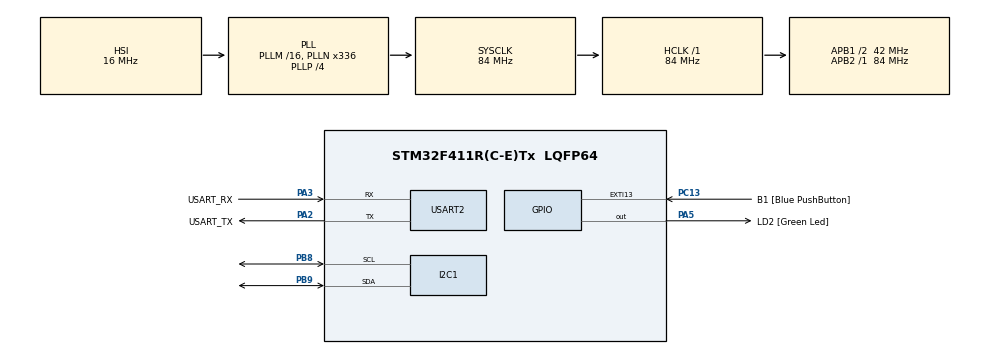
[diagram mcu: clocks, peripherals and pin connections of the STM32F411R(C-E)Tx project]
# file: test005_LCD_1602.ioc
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Mcu.Family=STM32F4
Mcu.Name=STM32F411R(C-E)Tx
Mcu.Package=LQFP64
NVIC.I2C1_ER_IRQn=true\:0\:0\:false\:false\:true\:true\:true\:true
NVIC.I2C1_EV_IRQn=true\:0\:0\:false\:false\:true\:true\:true\:true
NVIC.PriorityGroup=NVIC_PRIORITYGROUP_0
PA13.GPIO_Label=TMS
PA13.Mode=Serial_Wire
PA13.Signal=SYS_JTMS-SWDIO
PA14.GPIO_Label=TCK
PA14.Mode=Serial_Wire
PA14.Signal=SYS_JTCK-SWCLK
PA2.GPIO_Label=USART_TX
PA2.Mode=Asynchronous
PA2.Signal=USART2_TX
PA3.GPIO_Label=USART_RX
PA3.Mode=Asynchronous
PA3.Signal=USART2_RX
PA5.GPIO_Label=LD2 [Green Led]
PA5.Signal=GPIO_Output
PB3.GPIO_Label=SWO
PB3.Signal=SYS_JTDO-SWO
PB8.Mode=I2C
PB8.Signal=I2C1_SCL
PB9.Mode=I2C
PB9.Signal=I2C1_SDA
PC13-ANTI_TAMP.GPIO_Label=B1 [Blue PushButton]
PC13-ANTI_TAMP.GPIO_ModeDefaultEXTI=GPIO_MODE_IT_FALLING
PC13-ANTI_TAMP.Signal=GPXTI13
PC14-OSC32_IN.Mode=LSE-External-Oscillator
PC14-OSC32_IN.Signal=RCC_OSC32_IN
PC15-OSC32_OUT.Mode=LSE-External-Oscillator
PC15-OSC32_OUT.Signal=RCC_OSC32_OUT
PH0\ -\ OSC_IN.Mode=HSE-External-Clock-Source
PH0\ -\ OSC_IN.Signal=RCC_OSC_IN
PH1\ -\ OSC_OUT.Mode=HSE-External-Clock-Source
PH1\ -\ OSC_OUT.Signal=RCC_OSC_OUT
ProjectManager.HeapSize=0x200
ProjectManager.StackSize=0x400
ProjectManager.TargetToolchain=STM32CubeIDE
RCC.48MHZClocksFreq_Value=84000000
RCC.AHBFreq_Value=84000000
RCC.APB1CLKDivider=RCC_HCLK_DIV2
RCC.APB1Freq_Value=42000000
RCC.APB1TimFreq_Value=84000000
RCC.APB2Freq_Value=84000000
RCC.APB2TimFreq_Value=84000000
RCC.CortexFreq_Value=84000000
RCC.FLatency-AdvancedSettings=FLASH_LATENCY_2
RCC.HCLKFreq_Value=84000000
RCC.HSE_VALUE=8000000
RCC.HSI_VALUE=16000000
RCC.PLLN=336
RCC.PLLP=RCC_PLLP_DIV4
RCC.SYSCLKFreq_VALUE=84000000
RCC.SYSCLKSource=RCC_SYSCLKSOURCE_PLLCLK
RCC.VCOOutputFreq_Value=336000000
USART2.VirtualMode=VM_ASYNC
board=NUCLEO-F411RE

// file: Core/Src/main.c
/* USER CODE BEGIN Header */
/**
  ******************************************************************************
  * @file           : main.c
  * @brief          : Main program body
  ******************************************************************************
  * @attention
  *
  * Copyright (c) 2024 STMicroelectronics.
  * All rights reserved.
  *
  * This software is licensed under terms that can be found in the LICENSE file
  * in the root directory of this software component.
  * If no LICENSE file comes with this software, it is provided AS-IS.
  *
  ******************************************************************************
  */
/* USER CODE END Header */
#include "main.h"

/* USER CODE BEGIN Includes */
#include <stdio.h>
/* USER CODE END Includes */

I2C_HandleTypeDef hi2c1;

UART_HandleTypeDef huart2;

void SystemClock_Config(void);
static void MX_GPIO_Init(void);
static void MX_USART2_UART_Init(void);
static void MX_I2C1_Init(void);

int main(void)
{

  /* MCU Configuration--------------------------------------------------------*/

  /* Reset of all peripherals, Initializes the Flash interface and the Systick. */
  HAL_Init();

  /* Configure the system clock */
  SystemClock_Config();

  /* Initialize all configured peripherals */
  MX_GPIO_Init();
  MX_USART2_UART_Init();
  MX_I2C1_Init();
  /* USER CODE BEGIN 2 */
  ProgramStart("LCD (1602)");
  i2c_init(&hi2c1);
  i2c_scan();

  lcd_init();
  lcd_print("hello ");
  lcd_print("Good afternoon");
  int i;
  printf("Scanf test. Input any number : ");
  scanf("%d", &i);
  printf("Input number = %d\r\n", i);

  //lcd_print("Hello");
  //lcd_print("");

  /* USER CODE END 2 */

  /* Infinite loop */
  /* USER CODE BEGIN WHILE */
  char buf[20];
  while (1)
  {
	  printf("Scanf test. Input any number : ");
	  scanf("%d", &i);
	  //lcd_print("Input number = %d", i);
	  sprintf(buf, "Input number = %d", i);

	  lcd_printEx2(buf);
	  //lcd_printEX2(buf);
	  /* USER CODE END WHILE */

  }
}

void SystemClock_Config(void)
{
  RCC_OscInitTypeDef RCC_OscInitStruct = {0};
  RCC_ClkInitTypeDef RCC_ClkInitStruct = {0};

  /** Configure the main internal regulator output voltage
  */
  __HAL_RCC_PWR_CLK_ENABLE();
  __HAL_PWR_VOLTAGESCALING_CONFIG(PWR_REGULATOR_VOLTAGE_SCALE1);

  /** Initializes the RCC Oscillators according to the specified parameters
  * in the RCC_OscInitTypeDef structure.
  */
  RCC_OscInitStruct.OscillatorType = RCC_OSCILLATORTYPE_HSI;
  RCC_OscInitStruct.HSIState = RCC_HSI_ON;
  RCC_OscInitStruct.HSICalibrationValue = RCC_HSICALIBRATION_DEFAULT;
  RCC_OscInitStruct.PLL.PLLState = RCC_PLL_ON;
  RCC_OscInitStruct.PLL.PLLSource = RCC_PLLSOURCE_HSI;
  RCC_OscInitStruct.PLL.PLLM = 16;
  RCC_OscInitStruct.PLL.PLLN = 336;
  RCC_OscInitStruct.PLL.PLLP = RCC_PLLP_DIV4;
  RCC_OscInitStruct.PLL.PLLQ = 4;
  if (HAL_RCC_OscConfig(&RCC_OscInitStruct) != HAL_OK)
  {
    Error_Handler();
  }

  /** Initializes the CPU, AHB and APB buses clocks
  */
  RCC_ClkInitStruct.ClockType = RCC_CLOCKTYPE_HCLK|RCC_CLOCKTYPE_SYSCLK
                              |RCC_CLOCKTYPE_PCLK1|RCC_CLOCKTYPE_PCLK2;
  RCC_ClkInitStruct.SYSCLKSource = RCC_SYSCLKSOURCE_PLLCLK;
  RCC_ClkInitStruct.AHBCLKDivider = RCC_SYSCLK_DIV1;
  RCC_ClkInitStruct.APB1CLKDivider = RCC_HCLK_DIV2;
  RCC_ClkInitStruct.APB2CLKDivider = RCC_HCLK_DIV1;

  if (HAL_RCC_ClockConfig(&RCC_ClkInitStruct, FLASH_LATENCY_2) != HAL_OK)
  {
    Error_Handler();
  }
}

static void MX_I2C1_Init(void)
{

  hi2c1.Instance = I2C1;
  hi2c1.Init.ClockSpeed = 100000;
  hi2c1.Init.DutyCycle = I2C_DUTYCYCLE_2;
  hi2c1.Init.OwnAddress1 = 0;
  hi2c1.Init.AddressingMode = I2C_ADDRESSINGMODE_7BIT;
  hi2c1.Init.DualAddressMode = I2C_DUALADDRESS_DISABLE;
  hi2c1.Init.OwnAddress2 = 0;
  hi2c1.Init.GeneralCallMode = I2C_GENERALCALL_DISABLE;
  hi2c1.Init.NoStretchMode = I2C_NOSTRETCH_DISABLE;
  if (HAL_I2C_Init(&hi2c1) != HAL_OK)
  {
    Error_Handler();
  }

}

static void MX_USART2_UART_Init(void)
{

  huart2.Instance = USART2;
  huart2.Init.BaudRate = 115200;
  huart2.Init.WordLength = UART_WORDLENGTH_8B;
  huart2.Init.StopBits = UART_STOPBITS_1;
  huart2.Init.Parity = UART_PARITY_NONE;
  huart2.Init.Mode = UART_MODE_TX_RX;
  huart2.Init.HwFlowCtl = UART_HWCONTROL_NONE;
  huart2.Init.OverSampling = UART_OVERSAMPLING_16;
  if (HAL_UART_Init(&huart2) != HAL_OK)
  {
    Error_Handler();
  }

}

static void MX_GPIO_Init(void)
{
  GPIO_InitTypeDef GPIO_InitStruct = {0};

  /* GPIO Ports Clock Enable */
  __HAL_RCC_GPIOC_CLK_ENABLE();
  __HAL_RCC_GPIOH_CLK_ENABLE();
  __HAL_RCC_GPIOA_CLK_ENABLE();
  __HAL_RCC_GPIOB_CLK_ENABLE();

  /*Configure GPIO pin Output Level */
  HAL_GPIO_WritePin(LD2_GPIO_Port, LD2_Pin, GPIO_PIN_RESET);

  /*Configure GPIO pin : B1_Pin */
  GPIO_InitStruct.Pin = B1_Pin;
  GPIO_InitStruct.Mode = GPIO_MODE_IT_FALLING;
  GPIO_InitStruct.Pull = GPIO_NOPULL;
  HAL_GPIO_Init(B1_GPIO_Port, &GPIO_InitStruct);

  /*Configure GPIO pin : LD2_Pin */
  GPIO_InitStruct.Pin = LD2_Pin;
  GPIO_InitStruct.Mode = GPIO_MODE_OUTPUT_PP;
  GPIO_InitStruct.Pull = GPIO_NOPULL;
  GPIO_InitStruct.Speed = GPIO_SPEED_FREQ_LOW;
  HAL_GPIO_Init(LD2_GPIO_Port, &GPIO_InitStruct);

}

void Error_Handler(void)
{
  __disable_irq();
  while (1)
  {
  }
}
